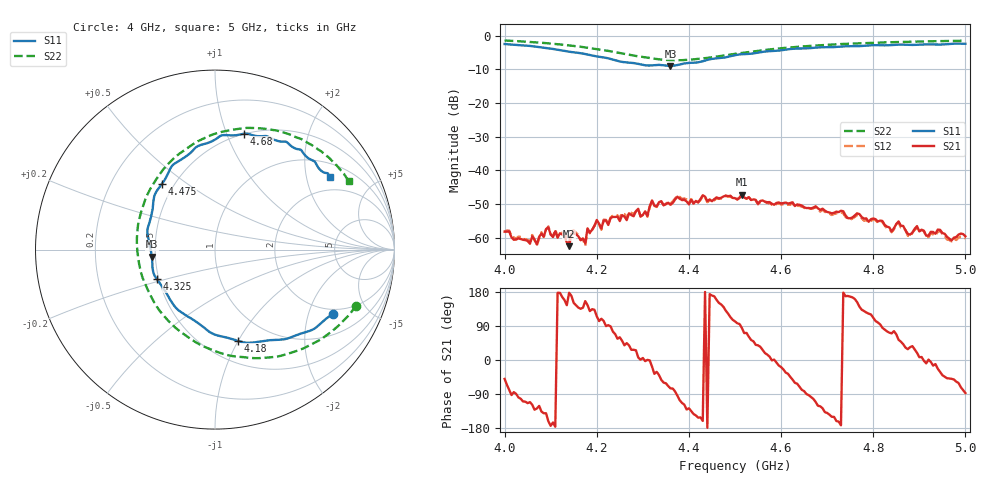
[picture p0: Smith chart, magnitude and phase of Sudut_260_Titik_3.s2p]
# Hz S RI R 50
! CMT, C1220, 16058040, 17.2.0/1
! Date: 15/08/2018 12:41:08
! Data: Format (Calibration Info)
! Freq  S11: Re/Im (F2)  S21: Re/Im (F2)  S12: Re/Im (F2)  S22: Re/Im (F2)
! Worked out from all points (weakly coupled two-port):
!   201 points, 4 GHz to 5 GHz, reference 50 ohm
!   highest |S21| = -47.22 dB at 4.515 GHz (marker M1); lowest = -62.6 dB at 4.14 GHz (marker M2)
!   lowest |S11| = -9.0 dB at 4.36 GHz (marker M3), VSWR 2.10, Z = 23.9 - j2.15 ohm
!   |S11| at or under -10 dB: nowhere
!   |S22| runs from -7.3 to -1.5 dB; largest |S21 - S12| = 0.00025
!   S11 on the Smith chart (normalised r, x): 4 GHz: 1.78, -2.91; 4.18 GHz: 0.71, -0.99; 4.325 GHz: 0.49, -0.18; 4.475 GHz: 0.43, +0.40; 4.68 GHz: 0.50, +1.15; 5 GHz: 1.47, +2.75
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4e9  0.6566 -0.3599  0.000786 -0.000937  0.000802 -0.000927  0.7861 -0.3128
4.06e9  0.5281 -0.4526  -0.00049 -0.000914  -0.000545 -0.000943  0.6673 -0.4419
4.07e9  0.5015 -0.4603  -0.000486 -0.000623  -0.000446 -0.000623  0.6418 -0.4619
4.095e9  0.4217 -0.4892  -0.00133 -0.000435  -0.00137 -0.000486  0.5731 -0.5094
4.14e9  0.2686 -0.5097  -0.000743 3.39e-05  -0.000852 7.94e-05  0.4232 -0.5747
4.145e9  0.2488 -0.5119  -0.00112 0.000211  -0.00121 0.000273  0.4038 -0.5811
4.17e9  0.1583 -0.5167  -0.000721 0.000649  -0.000677 0.000668  0.3075 -0.6004
4.175e9  0.1421 -0.5127  -0.00075 0.000344  -0.000647 0.000386  0.286 -0.6019
4.18e9  0.1257 -0.5079  -0.00112 0.000788  -0.00107 0.000776  0.265 -0.6032
4.29e9  -0.2404 -0.2939  0.00265 0.000312  0.00264 0.000158  -0.2063 -0.4465
4.31e9  -0.2871 -0.2165  0.00212 1.34e-05  0.00204 -4.59e-05  -0.2776 -0.377
4.32e9  -0.3133 -0.1796  0.0034 -0.00108  0.00331 -0.00106  -0.3106 -0.3376
4.325e9  -0.325 -0.163  0.0024 -0.00178  0.00239 -0.00175  -0.3254 -0.3162
4.335e9  -0.3426 -0.1312  0.00258 -0.00213  0.00264 -0.00204  -0.351 -0.2713
4.36e9  -0.3522 -0.0394  0.000797 -0.00296  0.000787 -0.0031  -0.4041 -0.1552
4.475e9  -0.2973 0.3648  -0.00313 0.00261  -0.00308 0.00258  -0.3399 0.3711
4.5e9  -0.252 0.4453  -0.000789 0.00377  -0.000802 0.00374  -0.2815 0.4547
4.515e9  -0.2305 0.4753  0.000438 0.00434  0.000516 0.00432  -0.24 0.4985
4.67e9  0.1427 0.6417  -0.000606 -0.00272  -0.000619 -0.00265  0.2039 0.678
4.68e9  0.1615 0.646  -0.00139 -0.00233  -0.00136 -0.00221  0.2311 0.6768
4.835e9  0.4485 0.5628  0.000435 0.00134  0.000353 0.00129  0.5486 0.5761
5e9  0.6387 0.403  5.27e-05 -0.00104  6.47e-05 -0.00097  0.7457 0.3839
